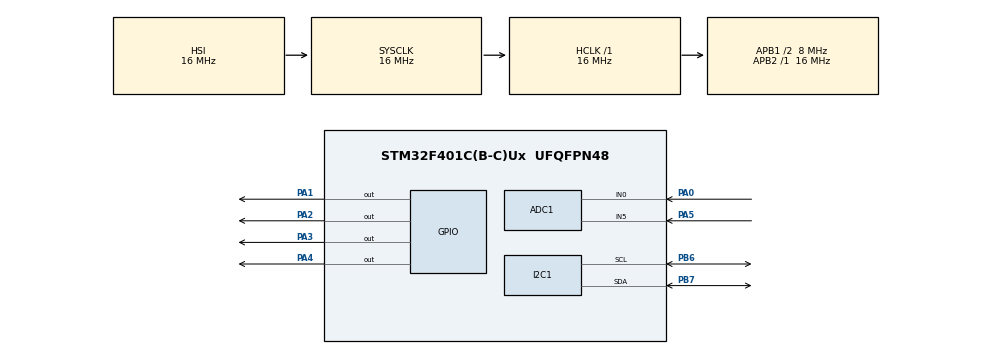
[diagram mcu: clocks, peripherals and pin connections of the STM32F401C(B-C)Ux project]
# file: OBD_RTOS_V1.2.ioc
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ADC1.Channel-0\#ChannelRegularConversion=ADC_CHANNEL_0
ADC1.NbrOfConversionFlag=1
ADC1.Rank-0\#ChannelRegularConversion=1
ADC1.SamplingTime-0\#ChannelRegularConversion=ADC_SAMPLETIME_3CYCLES
ADC1.master=1
FREERTOS.Tasks01=tim_Task1,24,128,IncTimFunc,Default,NULL,Dynamic,NULL,NULL;timTask2,8,128,EEPROM_saveTimVal,Default,NULL,Dynamic,NULL,NULL;fuelLevelTask1,8,128,getFuelLevelFromADC,Default,NULL,Dynamic,NULL,NULL;fuelLevelTask2,8,128,mapFuelLevelDigtalToLED,Default,NULL,Dynamic,NULL,NULL;LM35Task0,8,128,LM35_getTemprature,Default,NULL,Dynamic,NULL,NULL
Mcu.Family=STM32F4
Mcu.Name=STM32F401C(B-C)Ux
Mcu.Package=UFQFPN48
NVIC.PriorityGroup=NVIC_PRIORITYGROUP_4
PA0-WKUP.Signal=ADCx_IN0
PA1.Signal=GPIO_Output
PA2.Signal=GPIO_Output
PA3.Signal=GPIO_Output
PA4.Signal=GPIO_Output
PA5.Signal=ADCx_IN5
PB6.Mode=I2C
PB6.Signal=I2C1_SCL
PB7.Mode=I2C
PB7.Signal=I2C1_SDA
ProjectManager.HeapSize=0x200
ProjectManager.StackSize=0x400
ProjectManager.TargetToolchain=STM32CubeIDE
RCC.48MHZClocksFreq_Value=25000000
RCC.AHBFreq_Value=16000000
RCC.APB1CLKDivider=RCC_HCLK_DIV2
RCC.APB1Freq_Value=8000000
RCC.APB1TimFreq_Value=16000000
RCC.APB2Freq_Value=16000000
RCC.APB2TimFreq_Value=16000000
RCC.CortexFreq_Value=16000000
RCC.HCLKFreq_Value=16000000
RCC.HSE_VALUE=25000000
RCC.HSI_VALUE=16000000
RCC.LSE_VALUE=32768
RCC.PLLM=8
RCC.PLLN=50
RCC.SYSCLKFreq_VALUE=16000000
RCC.VCOOutputFreq_Value=100000000
SH.ADCx_IN0.0=ADC1_IN0,IN0
SH.ADCx_IN5.0=ADC1_IN5,IN5
VP_FREERTOS_VS_CMSIS_V2.Mode=CMSIS_V2
board=custom

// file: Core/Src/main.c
/* USER CODE BEGIN Header */
/**
 ******************************************************************************
 * @file           : main.c
 * @brief          : Main program body
 ******************************************************************************
 * @attention
 *
 * Copyright (c) 2023 STMicroelectronics.
 * All rights reserved.
 *
 * This software is licensed under terms that can be found in the LICENSE file
 * in the root directory of this software component.
 * If no LICENSE file comes with this software, it is provided AS-IS.
 *
 ******************************************************************************
 */
/* USER CODE END Header */
#include "main.h"
#include "cmsis_os.h"

/* USER CODE BEGIN Includes */
#include "EEPROM.h"
/* USER CODE END Includes */

/* USER CODE BEGIN PD */

//timer and eeprom
#define PAGE_NUM_TIM_LOC        1
#define PAGE_NUM_FLAG_LOC       100

#define OFFSET_NUM_TIM          1
#define OFFSET_NUM_FLAG         3

#define TIM_SIZE_DATA           4
#define FLAG_SIZE_DATA          1

#define FIRST_TIME             0xFF

//ADC and fuel level
#define FUEL_SENSOR_PIN				GPIO_PIN_0
#define FUEL_SENSOR_PORT			GPIOA

#define FUEL_LED0_PIN				GPIO_PIN_1
#define FUEL_LED0_PORT				GPIOA

#define FUEL_LED1_PIN				GPIO_PIN_2
#define FUEL_LED1_PORT				GPIOA

#define FUEL_LED2_PIN				GPIO_PIN_3
#define FUEL_LED2_PORT				GPIOA

#define FUEL_LED3_PIN				GPIO_PIN_4
#define FUEL_LED3_PORT				GPIOA

#define FUEL_MAX_DIGITA_VALUE		4096
#define FUEL_MINIMUM_DIGITA_VALUE	0

#define FUEL_LEVEL_FULL_TANK		4
#define FUEL_LEVEL_THREE_Q_TANK		3
#define FUEL_LEVEL_HALF_TANK		2
#define FUEL_LEVEL_QUARTER_TANK		1
#define FUEL_LEVEL_EMPTY_TANK		0
//lm35 temprature part
#define LM35_SENSOR_PIN				GPIO_PIN_5
#define LM35_SENSOR_PORT			GPIOA

#define LM35_MAX_DIGITA_VALUE		4096
#define LM35_MINIMUM_DIGITA_VALUE	0

#define LM35_MAX_TEMPRATURE			150
#define LM35_MINIMUM_TEMPRATURE		2

#define LM35_MAX_OUT_VOLt			1480 	//in mv
#define LM35_MINIMUM_OUT_VOLT		0

/* USER CODE END PD */

ADC_HandleTypeDef hadc1;

I2C_HandleTypeDef hi2c1;

/* Definitions for tim_Task1 */
osThreadId_t tim_Task1Handle;
const osThreadAttr_t tim_Task1_attributes = {
		.name = "tim_Task1",
		.stack_size = 128 * 4,
		.priority = (osPriority_t) osPriorityNormal,
};
/* Definitions for timTask2 */
osThreadId_t timTask2Handle;
const osThreadAttr_t timTask2_attributes = {
		.name = "timTask2",
		.stack_size = 128 * 4,
		.priority = (osPriority_t) osPriorityLow,
};
/* Definitions for fuelLevelTask1 */
osThreadId_t fuelLevelTask1Handle;
const osThreadAttr_t fuelLevelTask1_attributes = {
		.name = "fuelLevelTask1",
		.stack_size = 128 * 4,
		.priority = (osPriority_t) osPriorityLow,
};
/* Definitions for fuelLevelTask2 */
osThreadId_t fuelLevelTask2Handle;
const osThreadAttr_t fuelLevelTask2_attributes = {
		.name = "fuelLevelTask2",
		.stack_size = 128 * 4,
		.priority = (osPriority_t) osPriorityLow,
};
/* Definitions for LM35Task0 */
osThreadId_t LM35Task0Handle;
const osThreadAttr_t LM35Task0_attributes = {
		.name = "LM35Task0",
		.stack_size = 128 * 4,
		.priority = (osPriority_t) osPriorityLow,
};
/* USER CODE BEGIN PV */

//time and eeprom
uint32_t g_timeElapsedSec = 0;
uint8_t g_flag ;
uint8_t Done = 0x2;

// fuel level
uint32_t adcFuelValue ;
uint8_t curretFuelValue ;

// lm35 temprature
uint16_t ADC_TempratureDigitalRead ;
uint8_t  temperatureInCelsius ;
uint16_t  temperatureInMVolt ;

/* USER CODE END PV */

void SystemClock_Config(void);
static void MX_GPIO_Init(void);
static void MX_I2C1_Init(void);
static void MX_ADC1_Init(void);
void IncTimFunc(void *argument);
void EEPROM_saveTimVal(void *argument);
void getFuelLevelFromADC(void *argument);
void mapFuelLevelDigtalToLED(void *argument);
void LM35_getTemprature(void *argument);

/* USER CODE BEGIN PFP */

//time and eeprom
void EEPROM_voidInitTime(void);
uint32_t GetElapsedTime(void);

//fuel level
void mapDigitalvalueToLeds(uint32_t digitalValue);

//lm35 temprature

void getDigitalTemperatureFromADC ();
void mapDigitalTemperatureToVolt();
void mapMVoltToCelsius();

/* USER CODE END PFP */

int main(void)
{

	/* MCU Configuration--------------------------------------------------------*/

	/* Reset of all peripherals, Initializes the Flash interface and the Systick. */
	HAL_Init();

	/* Configure the system clock */
	SystemClock_Config();

	/* Initialize all configured peripherals */
	MX_GPIO_Init();
	MX_I2C1_Init();
	MX_ADC1_Init();
	/* USER CODE BEGIN 2 */
	HAL_I2C_Init(&hi2c1);
	EEPROM_voidInitTime();

	/* USER CODE END 2 */

	/* Init scheduler */
	osKernelInitialize();

	/* Create the thread(s) */
	/* creation of tim_Task1 */
	tim_Task1Handle = osThreadNew(IncTimFunc, NULL, &tim_Task1_attributes);

	/* creation of timTask2 */
	timTask2Handle = osThreadNew(EEPROM_saveTimVal, NULL, &timTask2_attributes);

	/* creation of fuelLevelTask1 */
	fuelLevelTask1Handle = osThreadNew(getFuelLevelFromADC, NULL, &fuelLevelTask1_attributes);

	/* creation of fuelLevelTask2 */
	fuelLevelTask2Handle = osThreadNew(mapFuelLevelDigtalToLED, NULL, &fuelLevelTask2_attributes);

	/* creation of LM35Task0 */
	LM35Task0Handle = osThreadNew(LM35_getTemprature, NULL, &LM35Task0_attributes);

	/* Start scheduler */
	osKernelStart();

	/* We should never get here as control is now taken by the scheduler */
	/* Infinite loop */
	while (1)
	{

	}
}

void SystemClock_Config(void)
{
	RCC_OscInitTypeDef RCC_OscInitStruct = {0};
	RCC_ClkInitTypeDef RCC_ClkInitStruct = {0};

	/** Configure the main internal regulator output voltage
	 */
	__HAL_RCC_PWR_CLK_ENABLE();
	__HAL_PWR_VOLTAGESCALING_CONFIG(PWR_REGULATOR_VOLTAGE_SCALE2);

	/** Initializes the RCC Oscillators according to the specified parameters
	 * in the RCC_OscInitTypeDef structure.
	 */
	RCC_OscInitStruct.OscillatorType = RCC_OSCILLATORTYPE_HSI;
	RCC_OscInitStruct.HSIState = RCC_HSI_ON;
	RCC_OscInitStruct.HSICalibrationValue = RCC_HSICALIBRATION_DEFAULT;
	RCC_OscInitStruct.PLL.PLLState = RCC_PLL_NONE;
	if (HAL_RCC_OscConfig(&RCC_OscInitStruct) != HAL_OK)
	{
		Error_Handler();
	}

	/** Initializes the CPU, AHB and APB buses clocks
	 */
	RCC_ClkInitStruct.ClockType = RCC_CLOCKTYPE_HCLK|RCC_CLOCKTYPE_SYSCLK
			|RCC_CLOCKTYPE_PCLK1|RCC_CLOCKTYPE_PCLK2;
	RCC_ClkInitStruct.SYSCLKSource = RCC_SYSCLKSOURCE_HSI;
	RCC_ClkInitStruct.AHBCLKDivider = RCC_SYSCLK_DIV1;
	RCC_ClkInitStruct.APB1CLKDivider = RCC_HCLK_DIV2;
	RCC_ClkInitStruct.APB2CLKDivider = RCC_HCLK_DIV1;

	if (HAL_RCC_ClockConfig(&RCC_ClkInitStruct, FLASH_LATENCY_0) != HAL_OK)
	{
		Error_Handler();
	}
}

static void MX_ADC1_Init(void)
{

	ADC_ChannelConfTypeDef sConfig = {0};

	/** Configure the global features of the ADC (Clock, Resolution, Data Alignment and number of conversion)
	 */
	hadc1.Instance = ADC1;
	hadc1.Init.ClockPrescaler = ADC_CLOCK_SYNC_PCLK_DIV2;
	hadc1.Init.Resolution = ADC_RESOLUTION_12B;
	hadc1.Init.ScanConvMode = DISABLE;
	hadc1.Init.ContinuousConvMode = DISABLE;
	hadc1.Init.DiscontinuousConvMode = DISABLE;
	hadc1.Init.ExternalTrigConvEdge = ADC_EXTERNALTRIGCONVEDGE_NONE;
	hadc1.Init.ExternalTrigConv = ADC_SOFTWARE_START;
	hadc1.Init.DataAlign = ADC_DATAALIGN_RIGHT;
	hadc1.Init.NbrOfConversion = 1;
	hadc1.Init.DMAContinuousRequests = DISABLE;
	hadc1.Init.EOCSelection = ADC_EOC_SINGLE_CONV;
	if (HAL_ADC_Init(&hadc1) != HAL_OK)
	{
		Error_Handler();
	}

	/** Configure for the selected ADC regular channel its corresponding rank in the sequencer and its sample time.
	 */
	sConfig.Channel = ADC_CHANNEL_0;
	sConfig.Rank = 1;
	sConfig.SamplingTime = ADC_SAMPLETIME_3CYCLES;
	if (HAL_ADC_ConfigChannel(&hadc1, &sConfig) != HAL_OK)
	{
		Error_Handler();
	}

}

static void MX_I2C1_Init(void)
{

	hi2c1.Instance = I2C1;
	hi2c1.Init.ClockSpeed = 100000;
	hi2c1.Init.DutyCycle = I2C_DUTYCYCLE_2;
	hi2c1.Init.OwnAddress1 = 0;
	hi2c1.Init.AddressingMode = I2C_ADDRESSINGMODE_7BIT;
	hi2c1.Init.DualAddressMode = I2C_DUALADDRESS_DISABLE;
	hi2c1.Init.OwnAddress2 = 0;
	hi2c1.Init.GeneralCallMode = I2C_GENERALCALL_DISABLE;
	hi2c1.Init.NoStretchMode = I2C_NOSTRETCH_DISABLE;
	if (HAL_I2C_Init(&hi2c1) != HAL_OK)
	{
		Error_Handler();
	}

}

static void MX_GPIO_Init(void)
{
	GPIO_InitTypeDef GPIO_InitStruct = {0};

	/* GPIO Ports Clock Enable */
	__HAL_RCC_GPIOA_CLK_ENABLE();
	__HAL_RCC_GPIOB_CLK_ENABLE();

	/*Configure GPIO pin Output Level */
	HAL_GPIO_WritePin(GPIOA, GPIO_PIN_1|GPIO_PIN_2|GPIO_PIN_3|GPIO_PIN_4, GPIO_PIN_RESET);

	/*Configure GPIO pins : PA1 PA2 PA3 PA4 */
	GPIO_InitStruct.Pin = GPIO_PIN_1|GPIO_PIN_2|GPIO_PIN_3|GPIO_PIN_4;
	GPIO_InitStruct.Mode = GPIO_MODE_OUTPUT_PP;
	GPIO_InitStruct.Pull = GPIO_NOPULL;
	GPIO_InitStruct.Speed = GPIO_SPEED_FREQ_LOW;
	HAL_GPIO_Init(GPIOA, &GPIO_InitStruct);

}

/* USER CODE BEGIN 4 */

//time and eeprom  no RTOS
uint32_t GetElapsedTime(void){
	uint32_t l_ElapsTim = g_timeElapsedSec;
	return l_ElapsTim;
}
/* Read Flag value */
void EEPROM_voidInitTime(void){
	EEPROM_Read(PAGE_NUM_FLAG_LOC, OFFSET_NUM_FLAG, &g_flag, FLAG_SIZE_DATA);

	HAL_Delay(5);
	if(g_flag != FIRST_TIME){

		EEPROM_Read(PAGE_NUM_TIM_LOC, OFFSET_NUM_TIM, (uint8_t *)&g_timeElapsedSec, TIM_SIZE_DATA);
	}
	else{
		/* It's First time */
		/* Erase our used loc in EEPROM to make sure that is clear */
		for(uint8_t i = 0 ; i < 7 ; i++){
			EEPROM_PageErase(i);
		}
		EEPROM_Write(PAGE_NUM_FLAG_LOC, OFFSET_NUM_FLAG,&Done, FLAG_SIZE_DATA);
	}
}

//fuel part no RTOS
void mapDigitalvalueToLeds(uint32_t digitalValue){
	//empty tank
	if (digitalValue <= FUEL_MINIMUM_DIGITA_VALUE){

		HAL_GPIO_WritePin(FUEL_LED0_PORT, FUEL_LED0_PIN,GPIO_PIN_SET);
		HAL_GPIO_WritePin(FUEL_LED1_PORT, FUEL_LED1_PIN,GPIO_PIN_SET);
		HAL_GPIO_WritePin(FUEL_LED2_PORT, FUEL_LED2_PIN,GPIO_PIN_SET);
		HAL_GPIO_WritePin(FUEL_LED3_PORT, FUEL_LED3_PIN,GPIO_PIN_SET);

		curretFuelValue = FUEL_LEVEL_EMPTY_TANK;
	}
	//quarter tank
	else if (digitalValue <= (FUEL_MAX_DIGITA_VALUE - FUEL_MINIMUM_DIGITA_VALUE)/4){

		HAL_GPIO_WritePin(FUEL_LED0_PORT, FUEL_LED0_PIN,GPIO_PIN_SET);
		HAL_GPIO_WritePin(FUEL_LED1_PORT, FUEL_LED1_PIN,GPIO_PIN_SET);
		HAL_GPIO_WritePin(FUEL_LED2_PORT, FUEL_LED2_PIN,GPIO_PIN_SET);
		HAL_GPIO_WritePin(FUEL_LED3_PORT, FUEL_LED3_PIN,GPIO_PIN_RESET);

		curretFuelValue = FUEL_LEVEL_QUARTER_TANK;
	}
	//Half tank
	else if (digitalValue <= (FUEL_MAX_DIGITA_VALUE - FUEL_MINIMUM_DIGITA_VALUE)/2){

		HAL_GPIO_WritePin(FUEL_LED0_PORT, FUEL_LED0_PIN,GPIO_PIN_SET);
		HAL_GPIO_WritePin(FUEL_LED1_PORT, FUEL_LED1_PIN,GPIO_PIN_SET);
		HAL_GPIO_WritePin(FUEL_LED2_PORT, FUEL_LED2_PIN,GPIO_PIN_RESET);
		HAL_GPIO_WritePin(FUEL_LED3_PORT, FUEL_LED3_PIN,GPIO_PIN_RESET);

		curretFuelValue = FUEL_LEVEL_HALF_TANK;
	}
	//3 quarters tank
	else if (digitalValue <= (FUEL_MAX_DIGITA_VALUE - FUEL_MINIMUM_DIGITA_VALUE)/4*3){

		HAL_GPIO_WritePin(FUEL_LED0_PORT, FUEL_LED0_PIN,GPIO_PIN_SET);
		HAL_GPIO_WritePin(FUEL_LED1_PORT, FUEL_LED1_PIN,GPIO_PIN_RESET);
		HAL_GPIO_WritePin(FUEL_LED2_PORT, FUEL_LED2_PIN,GPIO_PIN_RESET);
		HAL_GPIO_WritePin(FUEL_LED3_PORT, FUEL_LED3_PIN,GPIO_PIN_RESET);

		curretFuelValue = FUEL_LEVEL_THREE_Q_TANK;
	}
	//Full tank
	else if (digitalValue <= (FUEL_MAX_DIGITA_VALUE - FUEL_MINIMUM_DIGITA_VALUE)){

		HAL_GPIO_WritePin(FUEL_LED0_PORT, FUEL_LED0_PIN,GPIO_PIN_RESET);
		HAL_GPIO_WritePin(FUEL_LED1_PORT, FUEL_LED1_PIN,GPIO_PIN_RESET);
		HAL_GPIO_WritePin(FUEL_LED2_PORT, FUEL_LED2_PIN,GPIO_PIN_RESET);
		HAL_GPIO_WritePin(FUEL_LED3_PORT, FUEL_LED3_PIN,GPIO_PIN_RESET);

		curretFuelValue = FUEL_LEVEL_FULL_TANK;
	}
}

//lm 35 temprater no RTOS
void getDigitalTemperatureFromADC (){
	HAL_ADC_Start(&hadc1);
	HAL_ADC_PollForConversion(&hadc1, 100);
	ADC_TempratureDigitalRead = HAL_ADC_GetValue(&hadc1);
	HAL_ADC_Stop(&hadc1);
}
void mapDigitalTemperatureToVolt() {
	temperatureInMVolt = (ADC_TempratureDigitalRead*(LM35_MAX_OUT_VOLt-LM35_MINIMUM_OUT_VOLT))/(LM35_MAX_DIGITA_VALUE)+LM35_MINIMUM_OUT_VOLT;
}

void mapMVoltToCelsius() {
	temperatureInCelsius = (temperatureInMVolt*(LM35_MAX_TEMPRATURE-LM35_MINIMUM_TEMPRATURE))/(LM35_MAX_OUT_VOLt-LM35_MINIMUM_OUT_VOLT) + LM35_MINIMUM_TEMPRATURE ;
}

/* USER CODE END 4 */

void IncTimFunc(void *argument)
{
	/* USER CODE BEGIN 5 */
	/* Infinite loop */
	for(;;)
	{
		g_timeElapsedSec += 2;

		osDelay(2000);
	}
	/* USER CODE END 5 */
}

void EEPROM_saveTimVal(void *argument)
{
	/* USER CODE BEGIN EEPROM_saveTimVal */
	/* Infinite loop */
	for(;;)
	{
		EEPROM_Write(PAGE_NUM_TIM_LOC, OFFSET_NUM_TIM,(uint8_t *)&g_timeElapsedSec,TIM_SIZE_DATA);

		osDelay(10000);
	}
	/* USER CODE END EEPROM_saveTimVal */
}

void getFuelLevelFromADC(void *argument)
{
	/* USER CODE BEGIN getFuelLevelFromADC */
	osDelay(500);
	/* Infinite loop */
	for(;;)
	{
		HAL_ADC_Start(&hadc1);
		HAL_ADC_PollForConversion(&hadc1, 100);
		adcFuelValue = HAL_ADC_GetValue(&hadc1);
		HAL_ADC_Stop(&hadc1);
		osDelay(2000);
	}
	/* USER CODE END getFuelLevelFromADC */
}

void mapFuelLevelDigtalToLED(void *argument)
{
	/* USER CODE BEGIN mapFuelLevelDigtalToLED */
	osDelay(550);

	/* Infinite loop */

	for(;;)
	{
		mapDigitalvalueToLeds(adcFuelValue);
		osDelay(2000);
	}
	/* USER CODE END mapFuelLevelDigtalToLED */
}

void LM35_getTemprature(void *argument)
{
	/* USER CODE BEGIN LM35_getTemprature */
	/* Infinite loop */
	for(;;)
	{
		//getting temperature digital value from adc
		getDigitalTemperatureFromADC();
		//mapping Digital temperature to volt
		mapDigitalTemperatureToVolt();
		//mapping volt to celsius
		mapMVoltToCelsius();

		// maping temp to 3 digits
		//uint8_t temp0 = (temperatureInCelsius%10 ) 		+ 48;
		//uint8_t temp1 = (temperatureInCelsius%100) /10 	+ 48;
		//uint8_t temp2 = (temperatureInCelsius/100) 		+ 48;

		osDelay(1000);
	}
	/* USER CODE END LM35_getTemprature */
}

void Error_Handler(void)
{
	__disable_irq();
	while (1)
	{
	}
}
